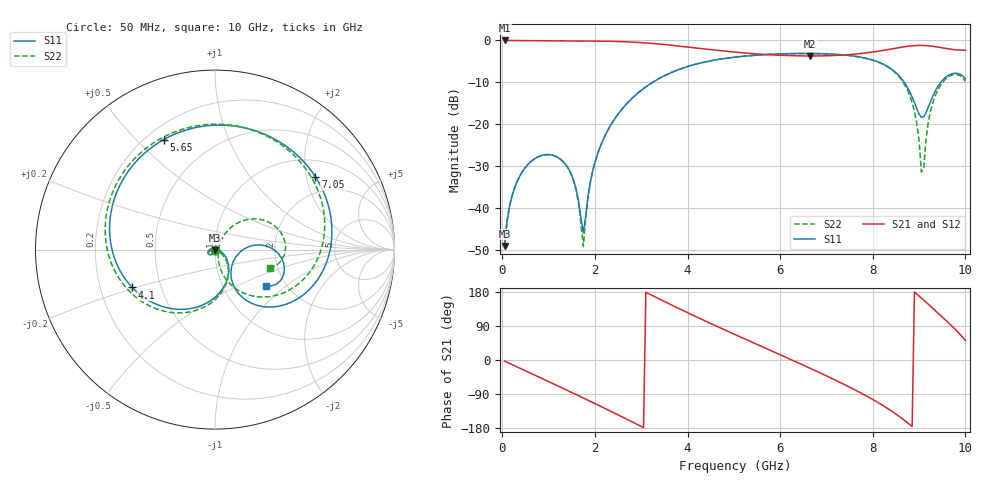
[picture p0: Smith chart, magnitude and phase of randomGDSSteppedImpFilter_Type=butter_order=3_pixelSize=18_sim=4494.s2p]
! freq	dB(S11)	phase(S11)	dB(S12)	phase(S12)
!  dB(S21)	phase(S21)	dB(S22)	phase(S22)
!S-par simulation data
#  GHz  S  DB  R 50
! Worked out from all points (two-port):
!   200 points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, 50 MHz to 10 GHz, reference 50 ohm
!   highest |S21| = -0.01 dB at 50 MHz (marker M1); lowest = -3.7 dB at 6.65 GHz (marker M2)
!   |S21| within 3 dB of the highest: start of sweep to 5.254 GHz; 7.827 GHz to end of sweep
!   lowest |S11| = -48.9 dB at 50 MHz (marker M3), VSWR 1.01, Z = 50 - j0.358 ohm
!   |S11| at or under -10 dB: start of sweep to 3.243 GHz; 8.68 GHz to 9.468 GHz (788.8 MHz wide, 8.69 % of centre)
!   |S22| runs from -49.0 to -3.1 dB; largest |S21 - S12| = 0
!   S11 on the Smith chart (normalised r, x): 50 MHz: 1.00, -0.01; 4.1 GHz: 0.34, -0.19; 5.65 GHz: 0.27, +0.60; 7.05 GHz: 1.46, +2.26; 10 GHz: 1.59, -0.73
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0.05  -48.91 -87.1  -0.01 -2.9  -0.01 -2.9  -48.91 -86.8
0.15  -39.85 -96.6  -0.02 -8.6  -0.02 -8.6  -39.85 -96.0
0.35  -32.87 -110.4  -0.03 -20.0  -0.03 -20.0  -32.87 -108.8
1  -27.18 -151.0  -0.08 -56.9  -0.08 -56.9  -27.20 -145.2
1.5  -32.14 173.0  -0.10 -85.6  -0.10 -85.6  -32.26 -168.9
1.75  -45.81 77.6  -0.12 -100.2  -0.12 -100.2  -48.99 -95.5
1.9  -33.80 -5.2  -0.13 -109.0  -0.13 -109.0  -33.85 -29.4
2.2  -23.11 -34.0  -0.17 -126.7  -0.17 -126.7  -23.08 -39.7
2.8  -13.81 -74.3  -0.39 -163.0  -0.39 -163.0  -13.78 -73.0
3.4  -8.99 -112.5  -0.87 160.5  -0.87 160.5  -8.96 -107.7
4.1  -5.89 -155.5  -1.69 119.1  -1.69 119.1  -5.88 -147.2
5.05  -3.95 149.1  -2.81 65.8  -2.81 65.8  -3.93 162.2
5.65  -3.40 115.0  -3.33 33.0  -3.33 33.0  -3.39 131.0
6.65  -3.10 58.6  -3.70 -22.0  -3.70 -22.0  -3.11 77.9
6.7  -3.11 55.7  -3.70 -24.8  -3.70 -24.8  -3.12 75.2
7.05  -3.21 35.9  -3.63 -44.8  -3.63 -44.8  -3.22 55.6
7.75  -4.00 -4.5  -3.10 -87.4  -3.10 -87.4  -4.03 13.6
8.35  -6.40 -41.1  -2.12 -130.3  -2.12 -130.3  -6.50 -28.3
8.85  -13.48 -62.4  -1.28 -175.5  -1.28 -175.5  -14.80 -69.3
9.05  -18.32 -33.0  -1.18 163.6  -1.18 163.6  -31.35 -50.7
9.4  -11.07 4.5  -1.56 124.7  -1.56 124.7  -11.90 41.9
10  -9.14 -35.1  -2.31 51.6  -2.31 51.6  -9.76 -18.7
